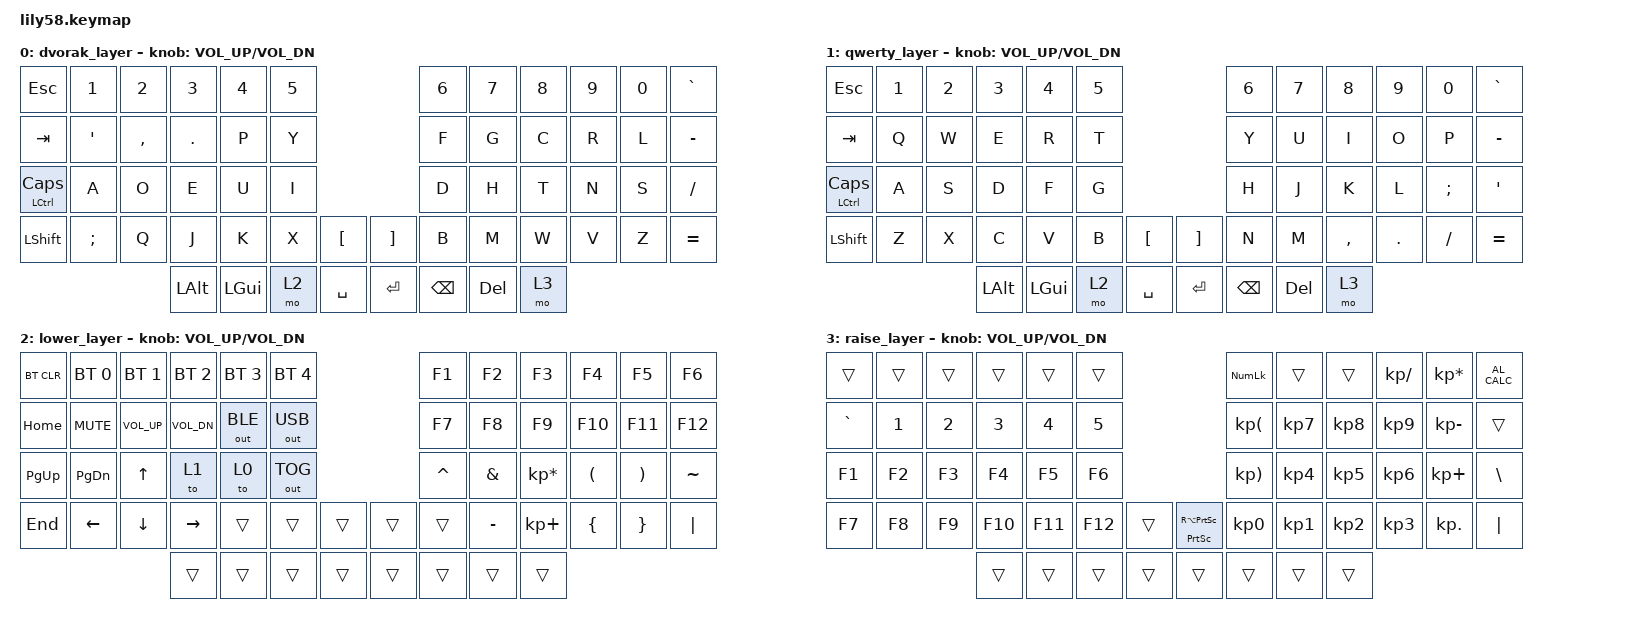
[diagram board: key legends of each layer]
/*
 * Copyright (c) 2020 The ZMK Contributors
 *
 * SPDX-License-Identifier: MIT
 */

#include <behaviors.dtsi>
#include <dt-bindings/zmk/keys.h>
#include <dt-bindings/zmk/bt.h>
#include <dt-bindings/zmk/ext_power.h>
#include <dt-bindings/zmk/outputs.h>

/ {
	keymap {
		compatible = "zmk,keymap";

		dvorak_layer {
// ------------------------------------------------------------------------------------------------------------
// |  ESC  |  1  |  2  |  3   |  4   |  5   |                   |  6   |  7    |  8    |  9   |   0   |   `   |
// |  TAB  |  '  |  ,  |  .   |  P   |  Y   |                   |  F   |  G    |  C    |  R   |   L   |   -   |
// |  CTRL |  A  |  O  |  E   |  U   |  I   |                   |  D   |  H    |  T    |  N   |   S   |   /   |
// | SHIFT |  ;  |  Q  |  J   |  K   |  X   |   "["  |  |  "]"  |  B   |  M    |  W    |  V   |   Z   |   =   |
//                     | ALT  | GUI  | LOWER|  SPACE |  | ENTER | BSPC | DEL   | RAISE |
			bindings = <
&kp ESC        &kp N1   &kp N2    &kp N3   &kp N4   &kp N5                     &kp N6    &kp N7   &kp N8   &kp N9  &kp N0   &kp GRAVE
&kp TAB        &kp SQT  &kp COMMA &kp DOT  &kp P    &kp Y                      &kp F     &kp G    &kp C    &kp R   &kp L    &kp MINUS
&mt LCTRL CAPS &kp A    &kp O     &kp E    &kp U    &kp I                      &kp D     &kp H    &kp T    &kp N   &kp S    &kp FSLH
&kp LSHFT      &kp SEMI &kp Q     &kp J    &kp K    &kp X  &kp LBKT   &kp RBKT &kp B     &kp M    &kp W    &kp V   &kp Z    &kp EQUAL
                                  &kp LALT &kp LGUI &mo 2  &kp SPACE  &kp RET  &kp BSPC  &kp DEL  &mo 3
			>;

			sensor-bindings = <&inc_dec_kp C_VOL_UP C_VOL_DN>;
		};
		
		qwerty_layer {
// ------------------------------------------------------------------------------------------------------------
// |  ESC  |  1  |  2  |  3   |  4   |  5   |                   |  6   |  7    |  8    |  9   |   0   |   `   |
// |  TAB  |  Q  |  W  |  E   |  R   |  T   |                   |  Y   |  U    |  I    |  O   |   P   |   -   |
// |  CTRL |  A  |  S  |  D   |  F   |  G   |                   |  H   |  J    |  K    |  L   |   ;   |   '   |
// | SHIFT |  Z  |  X  |  C   |  V   |  B   |   "["  |  |  "]"  |  N   |  M    |  ,    |  .   |   /   |   =   |
//                     | ALT  | GUI  | LOWER|  SPACE |  | ENTER | RAISE| BSPC  | GUI   |
			bindings = <
&kp ESC        &kp N1 &kp N2 &kp N3   &kp N4   &kp N5                     &kp N6    &kp N7   &kp N8    &kp N9  &kp N0   &kp GRAVE
&kp TAB        &kp Q  &kp W  &kp E    &kp R    &kp T                      &kp Y     &kp U    &kp I     &kp O   &kp P    &kp MINUS
&mt LCTRL CAPS &kp A  &kp S  &kp D    &kp F    &kp G                      &kp H     &kp J    &kp K     &kp L   &kp SEMI &kp SQT
&kp LSHFT      &kp Z  &kp X  &kp C    &kp V    &kp B  &kp LBKT   &kp RBKT &kp N     &kp M    &kp COMMA &kp DOT &kp FSLH &kp EQUAL
                             &kp LALT &kp LGUI &mo 2  &kp SPACE  &kp RET  &kp BSPC  &kp DEL  &mo 3
			>;

			sensor-bindings = <&inc_dec_kp C_VOL_UP C_VOL_DN>;
		};

		lower_layer {
// ------------------------------------------------------------------------------------------------------------
// | BTCLR |  BT1   |   BT2   |    BT3  |  BT4 |  BT5 |                      |  F1  |  F2   |  F3   |  F4  |  F5   |  F6   |
// | HOME  |  MUTE  |VOLUME UP|VOLUME DN|OUT_BT|OutUSB|                      |  F7  |  F8   |  F9   |  F10 |  F11  |  F12  |
// |PAGE UP|PAGE DN |    ^    | QWERTY  |DVORAK|OutTOG|                      |  ^   |  &    |  *    |  (   |   )   |   ~   |
// |  END  |   <-   |    v    |   ->    |      |      |      |       |       |      |  _    |  +    |  {   |   }   |  "|"  |
//                            |         |      |      |      |       |       |      |       |       |
			bindings = <
&bt BT_CLR &bt BT_SEL 0     &bt BT_SEL 1      &bt BT_SEL 2      &bt BT_SEL 3 &bt BT_SEL 4                    &kp F1    &kp F2    &kp F3          &kp F4    &kp F5    &kp F6
&kp HOME   &kp C_MUTE       &kp C_VOL_UP      &kp C_VOL_DN      &out OUT_BLE &out OUT_USB                    &kp F7    &kp F8    &kp F9          &kp F10   &kp F11   &kp F12
&kp PG_UP  &kp PG_DN        &kp UP            &to 1             &to 0        &out OUT_TOG                    &kp CARET &kp AMPS  &kp KP_MULTIPLY &kp LPAR  &kp RPAR  &kp TILDE
&kp END    &kp LEFT         &kp DOWN          &kp RIGHT         &trans       &trans       &trans   &trans    &trans    &kp MINUS &kp KP_PLUS     &kp LBRC  &kp RBRC  &kp PIPE
                                              &trans            &trans       &trans       &trans   &trans    &trans    &trans    &trans
			>;

			sensor-bindings = <&inc_dec_kp C_VOL_UP C_VOL_DN>;
		};

		raise_layer {
// ------------------------------------------------------------------------------------------------------------
// |       |     |     |      |      |      |                      |NUMLCK|       |       |  /   |   *   |  CALC |
// |   `   |  1  |  2  |  3   |  4   |  5   |                      |  (   |   7   |   8   |  9   |   -   |       |
// |   F1  |  F2 |  F3 |  F4  |  F5  |  F6  |                      |  )   |   4   |   5   |  6   |   +   |   \   |
// |   F7  |  F8 |  F9 |  F10 |  F11 |  F12 |        |  |PSCRN(Alt)|  0   |   1   |   2   |  3   |   .   |  "|"  |
//                     |      |      |      |        |  |          |      |       |       |
			bindings = <
&trans    &trans &trans &trans  &trans  &trans                                    &kp KP_NUMLOCK   &trans          &trans          &kp KP_DIVIDE     &kp KP_MULTIPLY  &kp C_AL_CALC
&kp GRAVE &kp N1 &kp N2 &kp N3  &kp N4  &kp N5                                    &kp KP_LPAR      &kp KP_NUMBER_7 &kp KP_NUMBER_8 &kp KP_NUMBER_9   &kp KP_MINUS     &trans
&kp F1    &kp F2 &kp F3 &kp F4  &kp F5  &kp F6                                    &kp KP_RPAR      &kp KP_NUMBER_4 &kp KP_NUMBER_5 &kp KP_NUMBER_6   &kp KP_PLUS      &kp BSLH
&kp F7    &kp F8 &kp F9 &kp F10 &kp F11 &kp F12   &trans   &mt PSCRN RA(PSCRN)    &kp KP_NUMBER_0  &kp KP_NUMBER_1 &kp KP_NUMBER_2 &kp KP_NUMBER_3   &kp KP_DOT       &kp PIPE
                        &trans  &trans  &trans    &trans   &trans                 &trans           &trans          &trans
			>;

			sensor-bindings = <&inc_dec_kp C_VOL_UP C_VOL_DN>;
		};
	};
};
